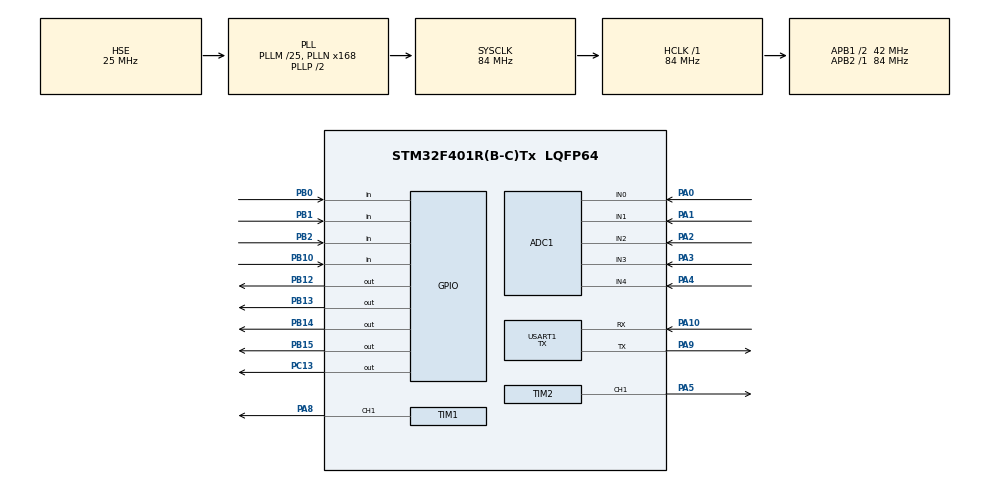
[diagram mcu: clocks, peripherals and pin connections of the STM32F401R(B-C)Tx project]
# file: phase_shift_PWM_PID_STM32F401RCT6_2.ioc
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ADC1.Channel-1\#ChannelRegularConversion=ADC_CHANNEL_0
ADC1.Channel-2\#ChannelRegularConversion=ADC_CHANNEL_1
ADC1.Channel-3\#ChannelRegularConversion=ADC_CHANNEL_2
ADC1.Channel-4\#ChannelRegularConversion=ADC_CHANNEL_3
ADC1.Channel-5\#ChannelRegularConversion=ADC_CHANNEL_4
ADC1.ContinuousConvMode=ENABLE
ADC1.DMAContinuousRequests=DISABLE
ADC1.InjNumberOfConversion=0
ADC1.NbrOfConversion=5
ADC1.NbrOfConversionFlag=1
ADC1.Rank-1\#ChannelRegularConversion=1
ADC1.Rank-2\#ChannelRegularConversion=2
ADC1.Rank-3\#ChannelRegularConversion=3
ADC1.Rank-4\#ChannelRegularConversion=4
ADC1.Rank-5\#ChannelRegularConversion=5
ADC1.SamplingTime-1\#ChannelRegularConversion=ADC_SAMPLETIME_84CYCLES
ADC1.SamplingTime-2\#ChannelRegularConversion=ADC_SAMPLETIME_112CYCLES
ADC1.SamplingTime-3\#ChannelRegularConversion=ADC_SAMPLETIME_144CYCLES
ADC1.SamplingTime-4\#ChannelRegularConversion=ADC_SAMPLETIME_28CYCLES
ADC1.SamplingTime-5\#ChannelRegularConversion=ADC_SAMPLETIME_15CYCLES
ADC1.ScanConvMode=ENABLE
ADC1.master=1
Dma.Request0=USART1_TX
Dma.Request1=TIM1_CH1
Dma.Request2=TIM2_CH1
Dma.TIM1_CH1.1.Direction=DMA_PERIPH_TO_MEMORY
Dma.TIM1_CH1.1.FIFOMode=DMA_FIFOMODE_DISABLE
Dma.TIM1_CH1.1.Instance=DMA2_Stream1
Dma.TIM1_CH1.1.MemDataAlignment=DMA_MDATAALIGN_HALFWORD
Dma.TIM1_CH1.1.MemInc=DMA_MINC_ENABLE
Dma.TIM1_CH1.1.Mode=DMA_NORMAL
Dma.TIM1_CH1.1.PeriphDataAlignment=DMA_PDATAALIGN_HALFWORD
Dma.TIM1_CH1.1.PeriphInc=DMA_PINC_DISABLE
Dma.TIM1_CH1.1.Priority=DMA_PRIORITY_LOW
Dma.TIM2_CH1.2.Direction=DMA_PERIPH_TO_MEMORY
Dma.TIM2_CH1.2.FIFOMode=DMA_FIFOMODE_DISABLE
Dma.TIM2_CH1.2.Instance=DMA1_Stream5
Dma.TIM2_CH1.2.MemDataAlignment=DMA_MDATAALIGN_HALFWORD
Dma.TIM2_CH1.2.MemInc=DMA_MINC_ENABLE
Dma.TIM2_CH1.2.Mode=DMA_NORMAL
Dma.TIM2_CH1.2.PeriphDataAlignment=DMA_PDATAALIGN_HALFWORD
Dma.TIM2_CH1.2.PeriphInc=DMA_PINC_DISABLE
Dma.TIM2_CH1.2.Priority=DMA_PRIORITY_LOW
Dma.USART1_TX.0.Direction=DMA_MEMORY_TO_PERIPH
Dma.USART1_TX.0.FIFOMode=DMA_FIFOMODE_DISABLE
Dma.USART1_TX.0.Instance=DMA2_Stream7
Dma.USART1_TX.0.MemDataAlignment=DMA_MDATAALIGN_WORD
Dma.USART1_TX.0.MemInc=DMA_MINC_ENABLE
Dma.USART1_TX.0.Mode=DMA_CIRCULAR
Dma.USART1_TX.0.PeriphDataAlignment=DMA_PDATAALIGN_WORD
Dma.USART1_TX.0.PeriphInc=DMA_PINC_DISABLE
Dma.USART1_TX.0.Priority=DMA_PRIORITY_LOW
Mcu.Family=STM32F4
Mcu.Name=STM32F401R(B-C)Tx
Mcu.Package=LQFP64
NVIC.DMA1_Stream5_IRQn=true\:0\:0\:false\:false\:true\:false\:true\:true
NVIC.DMA2_Stream1_IRQn=true\:0\:0\:false\:false\:true\:false\:true\:true
NVIC.DMA2_Stream7_IRQn=true\:0\:0\:false\:false\:true\:false\:true\:true
NVIC.PriorityGroup=NVIC_PRIORITYGROUP_4
NVIC.TIM1_CC_IRQn=true\:0\:0\:false\:false\:true\:true\:true\:true
NVIC.TIM2_IRQn=true\:0\:0\:false\:false\:true\:true\:true\:true
PA0-WKUP.Signal=ADCx_IN0
PA1.Signal=ADCx_IN1
PA10.Mode=Asynchronous
PA10.Signal=USART1_RX
PA13.Mode=Serial_Wire
PA13.Signal=SYS_JTMS-SWDIO
PA14.Mode=Serial_Wire
PA14.Signal=SYS_JTCK-SWCLK
PA2.Signal=ADCx_IN2
PA3.Signal=ADCx_IN3
PA4.Signal=ADCx_IN4
PA5.Signal=S_TIM2_CH1_ETR
PA8.Signal=S_TIM1_CH1
PA9.Mode=Asynchronous
PA9.Signal=USART1_TX
PB0.Signal=GPIO_Input
PB1.Signal=GPIO_Input
PB10.GPIO_PuPd=GPIO_PULLDOWN
PB10.Signal=GPIO_Input
PB12.Signal=GPIO_Output
PB13.Signal=GPIO_Output
PB14.Signal=GPIO_Output
PB15.Signal=GPIO_Output
PB2.Signal=GPIO_Input
PC13-ANTI_TAMP.Signal=GPIO_Output
PC14-OSC32_IN.Mode=LSE-External-Oscillator
PC14-OSC32_IN.Signal=RCC_OSC32_IN
PC15-OSC32_OUT.Mode=LSE-External-Oscillator
PC15-OSC32_OUT.Signal=RCC_OSC32_OUT
PH0\ -\ OSC_IN.Mode=HSE-External-Oscillator
PH0\ -\ OSC_IN.Signal=RCC_OSC_IN
PH1\ -\ OSC_OUT.Mode=HSE-External-Oscillator
PH1\ -\ OSC_OUT.Signal=RCC_OSC_OUT
ProjectManager.HeapSize=0x200
ProjectManager.StackSize=0x400
ProjectManager.TargetToolchain=STM32CubeIDE
RCC.48MHZClocksFreq_Value=42000000
RCC.AHBFreq_Value=84000000
RCC.APB1CLKDivider=RCC_HCLK_DIV2
RCC.APB1Freq_Value=42000000
RCC.APB1TimFreq_Value=84000000
RCC.APB2Freq_Value=84000000
RCC.APB2TimFreq_Value=84000000
RCC.CortexFreq_Value=84000000
RCC.HCLKFreq_Value=84000000
RCC.HSE_VALUE=25000000
RCC.HSI_VALUE=16000000
RCC.PLLM=25
RCC.PLLN=168
RCC.PLLSourceVirtual=RCC_PLLSOURCE_HSE
RCC.SYSCLKFreq_VALUE=84000000
RCC.SYSCLKSource=RCC_SYSCLKSOURCE_PLLCLK
RCC.VCOOutputFreq_Value=168000000
SH.ADCx_IN0.0=ADC1_IN0,IN0
SH.ADCx_IN1.0=ADC1_IN1,IN1
SH.ADCx_IN2.0=ADC1_IN2,IN2
SH.ADCx_IN3.0=ADC1_IN3,IN3
SH.ADCx_IN4.0=ADC1_IN4,IN4
SH.S_TIM1_CH1.0=TIM1_CH1,PWM Generation1 CH1
SH.S_TIM2_CH1_ETR.0=TIM2_CH1,PWM Generation1 CH1
TIM1.Channel-Output\ Compare2\ No\ Output=TIM_CHANNEL_2
TIM1.Channel-PWM\ Generation1\ CH1=TIM_CHANNEL_1
TIM1.OCMode_2=TIM_OCMODE_ACTIVE
TIM1.Period=690
TIM1.Prescaler=1
TIM1.Pulse-Output\ Compare2\ No\ Output=345
TIM1.Pulse-PWM\ Generation1\ CH1=0
TIM1.TIM_MasterOutputTrigger=TIM_TRGO_OC2REF
TIM2.Channel-PWM\ Generation1\ CH1=TIM_CHANNEL_1
TIM2.Period=690
TIM2.Prescaler=1
TIM2.Pulse-PWM\ Generation1\ CH1=0
USART1.Mode=MODE_TX
USART1.VirtualMode=VM_ASYNC
VP_TIM1_VS_no_output2.Mode=Output Compare2 No Output
VP_TIM2_VS_ClockSourceITR.Mode=TriggerSource_ITR0
VP_TIM2_VS_ControllerModeTrigger.Mode=Trigger Mode
board=custom

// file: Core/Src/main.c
/* USER CODE BEGIN Header */
/**
 ******************************************************************************
 * @file           : main.c
 * @brief          : Main program body
 ******************************************************************************
 * @attention
 *
 * Copyright (c) 2024 STMicroelectronics.
 * All rights reserved.
 *
 * This software is licensed under terms that can be found in the LICENSE file
 * in the root directory of this software component.
 * If no LICENSE file comes with this software, it is provided AS-IS.
 *
 ******************************************************************************
 */
/* USER CODE END Header */
#include "main.h"

/* USER CODE BEGIN Includes */
#include <stdio.h>
#include "string.h"
#include "stm32f4xx_hal.h"

/* USER CODE END Includes */

ADC_HandleTypeDef hadc1;

TIM_HandleTypeDef htim1;
TIM_HandleTypeDef htim2;
DMA_HandleTypeDef hdma_tim1_ch1;
DMA_HandleTypeDef hdma_tim2_ch1;

UART_HandleTypeDef huart1;
DMA_HandleTypeDef hdma_usart1_tx;

void SystemClock_Config(void);
static void MX_GPIO_Init(void);
static void MX_DMA_Init(void);
static void MX_ADC1_Init(void);
static void MX_TIM1_Init(void);
static void MX_TIM2_Init(void);
static void MX_USART1_UART_Init(void);

/* USER CODE BEGIN 0 */
// Define PID Input
#define   kp 0.95f   // P Gain Input--good kp = 0.66f--New P = 0.60f
#define   ki 16.66f  // I Gain Input--good ki = 16.66f--New I = 10.725f
#define   kd 0.00f   // D Gain Input

// setPoint
float setpoint = 400.0f;

// Define PID limits
//maximum duty circle 690/2 = 345-Dead Time
//Haft Duty circle = 365.0f - (360ns) = 345
#define   PID_MIN_OUTPUT 0.0f
#define   PID_MAX_OUTPUT 330.0f //MAX 330 is good
// Define Kalman filter parameters
//for voltage feedback
#define   Q 0.01f // Process noise covariance
#define   R 0.5f  // Measurement noise covariance
//for current sensor
#define   Q1 0.01f // Process noise covariance
#define   R1 0.5f  // Measurement noise covariance
//for voltage sensor input
#define   Q2 0.01f // Process noise covariance
#define   R2 0.5f  // Measurement noise covariance

// Define anti-windup parameters
#define   INTEGRAL_MIN 0.0f
#define   INTEGRAL_MAX 800.0f

// Define Derivative clamp parameters
#define   tau 0.02

// ADC parameters
#define   ADC_MAX_VALUE 4095.0f // 12-bit ADC
#define   ADC_MIN_VALUE 0.0f

// Map function parameters
#define   INPUT_MIN 0.0f
#define   INPUT_MAX 5.0f  //500V = 5V

// PID Parameter
float error = 0.0f, last_error = 0.0f, proportional = 0.0f, integral = 0.0f,
		derivate = 0.0f;
float PID_out = 0.0f;
float out = 0.0f;
float PWM = 0.0f;
double input = 0.0f;
float last_feedback = 0.0f;
float UVout = 0.0f;
float Vin = 0.0f;
float Iout = 0.0f;
int UVref = 50.0f;
int Iref = 20.0f;   //Max 50A
int first_start_pwm = 40.0f; //first_start_pwm D12.5% = 83.25 ,D25% = 166.5, D45% = 333
float i = 0.0f;
int Iset = 30.0f;
float Pin = 0.0f;

char data[100];

#define   SAMPLE_TIME      10 	// 10 milliseconds
#define   SAMPLE_TIME1     10 	// 10 milliseconds
float dt = 0.0f; 		// Time interval between control loop iterations
float dt1 = 0.0f;
uint32_t last_time = 0.0f;
uint32_t current_time;
uint32_t now;
uint32_t last;

float previousMillis = 0.0f;
float interval = 100.0f;

/*-----------------------------map value------------------------------------*/
float map(float x, float in_min, float in_max, float out_min, float out_max) {
	return (x - in_min) * (out_max - out_min) / (in_max - in_min) + out_min;
}
float map1(float x1, float in_min1, float in_max1, float out_min1, float out_max1) {
	return (x1 - in_min1) * (out_max1 - out_min1) / (in_max1 - in_min1) + out_min1;
}
float map2(float x2, float in_min2, float in_max2, float out_min2, float out_max2) {
	return (x2 - in_min2) * (out_max2 - out_min2) / (in_max2 - in_min2) + out_min2;
}
float map3(float x3, float in_min3, float in_max3, float out_min3, float out_max3) {
	return (x3 - in_min3) * (out_max3 - out_min3) / (in_max3 - in_min3) + out_min3;
}
/*--------------------------------------------------------------------------*/

/*------------------------------kalman_filter-------------------------------*/
float kalman_filter1(float measurement1, float dt1) {
	static float x_Est1 = 0.0f; // State estimate
	static float P1 = 1.0f;     // Estimate covariance
	static float H1 = 1.0f;  // Measurement matrix
	static float F1 = 1.0f;  // State transition matrix

	// Prediction
	float x_est_minus1 = F1 * x_Est1;
	float P_minus1 = P1 + Q1 * dt1;

	// Update
	float K1 = (P_minus1 * H1)/(H1 * P_minus1 + R1);
	x_Est1 = x_est_minus1 + K1 * (measurement1 - x_est_minus1);
	P1 = (1 - K1 * H1) * P_minus1;
	return x_Est1;
}

float kalman_filter2(float measurement2, float dt1) {
	static float x_Est2 = 0.0f; // State estimate
	static float P2 = 1.0f;     // Estimate covariance
	static float H2 = 1.0f;  // Measurement matrix
	static float F2 = 1.0f;  // State transition matrix

	// Prediction
	float x_est_minus2 = F2 * x_Est2;
	float P_minus2     = F2 * P2 + Q2 * dt1;

	// Update
	float K2 = (P_minus2 * H2)/(H2 * P_minus2 + R2);
	x_Est2 = x_est_minus2 + K2 * (measurement2 - H2 * x_est_minus2);
	P2 = (1 - K2 * H2) * P_minus2;
	return x_Est2;
}

// Function to update the Kalman filter
float Kalman_Update(float z, float delta) {
	// Kalman filter variables
	static float x = 0.0f;  // State estimate
	static float P = 1.0f;  // Estimate covariance
	static float H = 1.0f;  // Measurement matrix
	static float F = 1.0f;  // State transition matrix

	// Prediction step
	float x_pred = F * x;
	float P_pred = F * P + Q * delta;

	// Update step
	float K = P_pred * H / (H * P_pred + R);  // Kalman gain
	x = x_pred + K * (z - H * x_pred);
	P = (1 - K * H) * P_pred;
	return x;
}

/*------------------------PID COMPUTE---------------------------------------*/
void PID_comput(float setPoint, float feedback) {
	setPoint = map(setPoint, 0.0f, 500.0f, 0.0f, 330);
	feedback = map(feedback, 0.0f, 500.0f, 0.0f, 330);
	error = setPoint - feedback;

	proportional = kp * error; //Proportional--------------------------------------------------

	/* Integral term with ANTI WIND-UP */

	integral += ( ki * dt * error); // integral += ((ki * error) * dt);-----------
	if (integral > INTEGRAL_MAX) {
		integral = INTEGRAL_MAX / ki; //integral = INTEGRAL_MAX/ki;
	} else if (integral < INTEGRAL_MIN) {
		integral = INTEGRAL_MIN / ki; // integral = INTEGRAL_MIN/ki;
	}

	//-------------------------------------

	/* Derivative (band-limited differentiator)*/

	//derivate = kd * ((error - last_error)/dt);
	derivate = -(2.0f * kd * (feedback - last_feedback)/* Note: derivative on measurement, therefore minus sign in front of equation! */
	+ (2.0f * tau - dt) * derivate) / (2.0f * tau + dt);
	//-------------------------------------

	PID_out = proportional + integral + derivate; //PID OUTPUT

	/*Output Limit-------------------------*/
	if (PID_out > PID_MAX_OUTPUT) {
		integral -= (ki * error * dt); // integral =  integral + (ki * error);
		PID_out = PID_MAX_OUTPUT;
	} else if (PID_out < PID_MIN_OUTPUT) {
		//integral += (ki * error * dt);
		PID_out = PID_MIN_OUTPUT;
	}
	last_error = error;
	last_feedback = feedback;
	//------------------------------
	//return PID_out;
}
//------------------------UART Serial Print Data-----------------------------------------------------------------------------------------------------------------------------------------
void print_data(float IN1, float IN2, float IN3, float IN4, float IN5,
		float IN6, float IN7) {
	// Blink the status LED
	unsigned long currentMillis = HAL_GetTick();
	if (currentMillis - previousMillis >= interval) {
		previousMillis = currentMillis;
		sprintf(data,
				"I:%.2fA  Vf:%.2fV  PWM:%.2f  Pin:%.2fW  ut:%.2f  Targ:%.fV  Vin:%.2fV \r\n",
				IN1, IN2, IN3, IN4, IN5, IN6, IN7);
		HAL_UART_Transmit(&huart1, (uint8_t*) data, strlen(data),
				HAL_MAX_DELAY);
	}
}
//---------------------------------------------------------------------------------------------------------------------------------------------------------------------------------
void ADC_Select_CH0(void) {
	ADC_ChannelConfTypeDef sConfig = { 0 };
	/** Configure for the selected ADC regular channel its corresponding rank in the sequencer and its sample time.
	 */
	sConfig.Channel = ADC_CHANNEL_0;
	sConfig.Rank = 1;
	sConfig.SamplingTime = ADC_SAMPLETIME_84CYCLES;
	if (HAL_ADC_ConfigChannel(&hadc1, &sConfig) != HAL_OK) {
		Error_Handler();
	}
}

void ADC_Select_CH1(void) {
	ADC_ChannelConfTypeDef sConfig = { 0 };
	/** Configure for the selected ADC regular channel its corresponding rank in the sequencer and its sample time.
	 */
	sConfig.Channel = ADC_CHANNEL_1;
	sConfig.Rank = 1;
	sConfig.SamplingTime = ADC_SAMPLETIME_112CYCLES;
	if (HAL_ADC_ConfigChannel(&hadc1, &sConfig) != HAL_OK) {
		Error_Handler();
	}
}

void ADC_Select_CH2(void) {
	ADC_ChannelConfTypeDef sConfig = { 0 };
	/** Configure for the selected ADC regular channel its corresponding rank in the sequencer and its sample time.
	 */
	sConfig.Channel = ADC_CHANNEL_2;
	sConfig.Rank = 1;
	sConfig.SamplingTime = ADC_SAMPLETIME_144CYCLES;
	if (HAL_ADC_ConfigChannel(&hadc1, &sConfig) != HAL_OK) {
		Error_Handler();
	}
}

void ADC_Select_CH3(void) {
	ADC_ChannelConfTypeDef sConfig = { 0 };
	/** Configure for the selected ADC regular channel its corresponding rank in the sequencer and its sample time.
	 */
	sConfig.Channel = ADC_CHANNEL_3;
	sConfig.Rank = 1;
	sConfig.SamplingTime = ADC_SAMPLETIME_28CYCLES;
	if (HAL_ADC_ConfigChannel(&hadc1, &sConfig) != HAL_OK) {
		Error_Handler();
	}
}

void ADC_Select_CH4(void) {
	ADC_ChannelConfTypeDef sConfig = { 0 };
	/** Configure for the selected ADC regular channel its corresponding rank in the sequencer and its sample time.
	 */
	sConfig.Channel = ADC_CHANNEL_4;
	sConfig.Rank = 1;
	sConfig.SamplingTime = ADC_SAMPLETIME_15CYCLES;
	if (HAL_ADC_ConfigChannel(&hadc1, &sConfig) != HAL_OK) {
		Error_Handler();
	}
}

/* USER CODE END 0 */

int main(void)
{

  /* MCU Configuration--------------------------------------------------------*/

  /* Reset of all peripherals, Initializes the Flash interface and the Systick. */
  HAL_Init();

  /* Configure the system clock */
  SystemClock_Config();

  /* Initialize all configured peripherals */
  MX_GPIO_Init();
  MX_DMA_Init();
  MX_ADC1_Init();
  MX_TIM1_Init();
  MX_TIM2_Init();
  MX_USART1_UART_Init();
  /* USER CODE BEGIN 2 */

	HAL_TIM_PWM_Start(&htim1, TIM_CHANNEL_1);	//Pin PA8
	HAL_TIM_OC_Start(&htim1, TIM_CHANNEL_2);
	HAL_TIM_PWM_Start(&htim2, TIM_CHANNEL_1);	//Pin PA5

  /* USER CODE END 2 */

  /* Infinite loop */
  /* USER CODE BEGIN WHILE */
	uint32_t adc_value[5];

	while (1) {

		ADC_Select_CH0();            //ADC1 CHANNEL0(PA0)
		HAL_ADC_Start(&hadc1);
		HAL_ADC_PollForConversion(&hadc1, 100);
		adc_value[0] = HAL_ADC_GetValue(&hadc1);
		HAL_ADC_Stop(&hadc1);

		ADC_Select_CH1();            //ADC1 CHANNEL1(PA1)
		HAL_ADC_Start(&hadc1);
		HAL_ADC_PollForConversion(&hadc1, 100);
		adc_value[1] = HAL_ADC_GetValue(&hadc1);
		HAL_ADC_Stop(&hadc1);

		ADC_Select_CH2();            //ADC1 CHANNEL0(PA2)
		HAL_ADC_Start(&hadc1);
		HAL_ADC_PollForConversion(&hadc1, 100);
		adc_value[2] = HAL_ADC_GetValue(&hadc1);
		HAL_ADC_Stop(&hadc1);

		ADC_Select_CH3();            //ADC1 CHANNEL0(PA3)
		HAL_ADC_Start(&hadc1);
		HAL_ADC_PollForConversion(&hadc1, 100);
		adc_value[3] = HAL_ADC_GetValue(&hadc1);
		HAL_ADC_Stop(&hadc1);

		ADC_Select_CH4();            //ADC1 CHANNEL0(PA4)
		HAL_ADC_Start(&hadc1);
		HAL_ADC_PollForConversion(&hadc1, 100);
		adc_value[4] = HAL_ADC_GetValue(&hadc1);
		HAL_ADC_Stop(&hadc1);

//------------------------------------------------------------
		//voltage feedback map value of ADC1(PA0)
		input = map(adc_value[0], ADC_MIN_VALUE, ADC_MAX_VALUE, INPUT_MIN,
				INPUT_MAX);
		float Vfeedback = ((input - 0.29f) * 125.0f) / 1.079f;	      //117
		if (Vfeedback > 600.0f) {
			Vfeedback = 600.0;
		} else if (Vfeedback < 0.0f) {
			Vfeedback = 0.0f;
		}
//-----------------------------------------------------------------------------------
		//current feedback map value of ADC1(PA1)
		Iout = map1(adc_value[1], 0.0f, 4095.0f, 0.0f, 5.0f);
		Iout = (Iout - (2.427f)) / 0.040f;	 //convert voltage to current 40mV/A
		if (Iout >= 60.0f) {
			Iout = 60.0f;
		} else if (Iout < 0.0f) {
			Iout = 0.0f;
		}

//-----------------------------------------------------------------------------------
		//V_input feedback map value of ADC1(PA2)
		Vin = map2(adc_value[2], 0.0f, 4095.0f, 0.0f, 103.4f);

//-----------------------------------------------------------------------------------
		// Run filter
		float filtered1 = Kalman_Update(Vfeedback, dt1);
	    float filtered2 = kalman_filter1(Iout,dt1);
	    float filtered3 = kalman_filter2(Vin,dt1);

		now = HAL_GetTick();
		dt1 = (now - last) / 1000.0f; // Convert ms to seconds
		if (dt1 >= (SAMPLE_TIME1 / 1000.0f)) {

			last = now; // Update last
		}
		current_time = HAL_GetTick();
		dt = (current_time - last_time) / 1000.0f; // Convert ms to seconds
		if (dt >= (SAMPLE_TIME / 1000.0f)) {
			//-------------------------------------------------------------------------

			PID_comput(setpoint, filtered1); //PID_comput(setPoint, Input);
			//PI_comput(Iset, filtered2); //P_comput(setPoint, Input) For current
			last_time = current_time; // Update last_time
		}

		Pin = filtered2 * filtered3;//calculate output power

		PWM = PID_out; // Otherwise, use voltage control

//----------------Timer PWM Generator--------------------------
		TIM1->CCR1 = PWM;
		TIM2->CCR1 = PWM;
//-------------------------------------------------------------
		if (i < 1) {
			HAL_GPIO_WritePin(GPIOC, GPIO_PIN_13, GPIO_PIN_SET);
			HAL_Delay(300);
			HAL_GPIO_WritePin(GPIOC, GPIO_PIN_13, GPIO_PIN_RESET);
		}
//--------------------------PWM SHUT DOWN----------------------
		if ((Vin >= 60) || (Vin <= 40)) {//When batteries are Higher or Lower than reference, System will be shut down
			HAL_TIM_PWM_Stop(&htim1, TIM_CHANNEL_1);
			HAL_TIM_PWM_Stop(&htim2, TIM_CHANNEL_1);
			HAL_GPIO_WritePin(GPIOB, GPIO_PIN_13, GPIO_PIN_SET);
			while (1) {
				HAL_GPIO_WritePin(GPIOC, GPIO_PIN_13, GPIO_PIN_SET);
				HAL_Delay(1000);
				HAL_GPIO_WritePin(GPIOC, GPIO_PIN_13, GPIO_PIN_RESET);
				HAL_Delay(1000);

				if ((Vin < 60) || (Vin > 46)) {//When batteries are normal, System will be reset
					NVIC_SystemReset();//Automatic system reset
					break;
				}
			}
		}
//-------------------------------------------------------------

		if (filtered2 >= Iref) {// Overload Current
			HAL_TIM_PWM_Stop(&htim1, TIM_CHANNEL_1);
			HAL_TIM_PWM_Stop(&htim2, TIM_CHANNEL_1);
			HAL_GPIO_WritePin(GPIOB, GPIO_PIN_13, GPIO_PIN_SET);
			while (1) {

				HAL_GPIO_WritePin(GPIOC, GPIO_PIN_13, GPIO_PIN_SET);
				HAL_Delay(300);
				HAL_GPIO_WritePin(GPIOC, GPIO_PIN_13, GPIO_PIN_RESET);
				HAL_Delay(300);

			}

		}
		//-----------------------------------------------------------
		print_data(filtered2, filtered1, PWM, Pin, PID_out, setpoint, filtered3);

//soft start-----------------------------------------------------------------------------------------------------------
		while (i <= first_start_pwm) {
			i += 0.0002f;

			filtered1 = Kalman_Update(Vfeedback, dt1);
			filtered2 = kalman_filter1(Iout, dt1);
			filtered3 = kalman_filter2(Vin, dt1);
			PID_comput(setpoint, filtered1); //PID_comput(setPoint, Input);
//					 PI_comput(Iset, filtered2); //P_comput(setPoint, Input) For current
			TIM1->CCR1 = i;
			TIM2->CCR1 = i;
			print_data(filtered2, filtered1, i, Pin, PID_out, setpoint, filtered3);
			if (i == first_start_pwm) {
				break;
			}
		}
//--------------------------------------------------------------------------------------------------------------------

    /* USER CODE END WHILE */

	}
}

void SystemClock_Config(void)
{
  RCC_OscInitTypeDef RCC_OscInitStruct = {0};
  RCC_ClkInitTypeDef RCC_ClkInitStruct = {0};

  /** Configure the main internal regulator output voltage
  */
  __HAL_RCC_PWR_CLK_ENABLE();
  __HAL_PWR_VOLTAGESCALING_CONFIG(PWR_REGULATOR_VOLTAGE_SCALE2);

  /** Initializes the RCC Oscillators according to the specified parameters
  * in the RCC_OscInitTypeDef structure.
  */
  RCC_OscInitStruct.OscillatorType = RCC_OSCILLATORTYPE_HSE;
  RCC_OscInitStruct.HSEState = RCC_HSE_ON;
  RCC_OscInitStruct.PLL.PLLState = RCC_PLL_ON;
  RCC_OscInitStruct.PLL.PLLSource = RCC_PLLSOURCE_HSE;
  RCC_OscInitStruct.PLL.PLLM = 25;
  RCC_OscInitStruct.PLL.PLLN = 168;
  RCC_OscInitStruct.PLL.PLLP = RCC_PLLP_DIV2;
  RCC_OscInitStruct.PLL.PLLQ = 4;
  if (HAL_RCC_OscConfig(&RCC_OscInitStruct) != HAL_OK)
  {
    Error_Handler();
  }

  /** Initializes the CPU, AHB and APB buses clocks
  */
  RCC_ClkInitStruct.ClockType = RCC_CLOCKTYPE_HCLK|RCC_CLOCKTYPE_SYSCLK
                              |RCC_CLOCKTYPE_PCLK1|RCC_CLOCKTYPE_PCLK2;
  RCC_ClkInitStruct.SYSCLKSource = RCC_SYSCLKSOURCE_PLLCLK;
  RCC_ClkInitStruct.AHBCLKDivider = RCC_SYSCLK_DIV1;
  RCC_ClkInitStruct.APB1CLKDivider = RCC_HCLK_DIV2;
  RCC_ClkInitStruct.APB2CLKDivider = RCC_HCLK_DIV1;

  if (HAL_RCC_ClockConfig(&RCC_ClkInitStruct, FLASH_LATENCY_2) != HAL_OK)
  {
    Error_Handler();
  }
}

static void MX_ADC1_Init(void)
{

  ADC_ChannelConfTypeDef sConfig = {0};

  /** Configure the global features of the ADC (Clock, Resolution, Data Alignment and number of conversion)
  */
  hadc1.Instance = ADC1;
  hadc1.Init.ClockPrescaler = ADC_CLOCK_SYNC_PCLK_DIV4;
  hadc1.Init.Resolution = ADC_RESOLUTION_12B;
  hadc1.Init.ScanConvMode = ENABLE;
  hadc1.Init.ContinuousConvMode = ENABLE;
  hadc1.Init.DiscontinuousConvMode = DISABLE;
  hadc1.Init.ExternalTrigConvEdge = ADC_EXTERNALTRIGCONVEDGE_NONE;
  hadc1.Init.ExternalTrigConv = ADC_SOFTWARE_START;
  hadc1.Init.DataAlign = ADC_DATAALIGN_RIGHT;
  hadc1.Init.NbrOfConversion = 5;
  hadc1.Init.DMAContinuousRequests = DISABLE;
  hadc1.Init.EOCSelection = ADC_EOC_SINGLE_CONV;
  if (HAL_ADC_Init(&hadc1) != HAL_OK)
  {
    Error_Handler();
  }

  /** Configure for the selected ADC regular channel its corresponding rank in the sequencer and its sample time.
  */
  sConfig.Channel = ADC_CHANNEL_0;
  sConfig.Rank = 1;
  sConfig.SamplingTime = ADC_SAMPLETIME_84CYCLES;
  if (HAL_ADC_ConfigChannel(&hadc1, &sConfig) != HAL_OK)
  {
    Error_Handler();
  }

  /** Configure for the selected ADC regular channel its corresponding rank in the sequencer and its sample time.
  */
  sConfig.Channel = ADC_CHANNEL_1;
  sConfig.Rank = 2;
  sConfig.SamplingTime = ADC_SAMPLETIME_112CYCLES;
  if (HAL_ADC_ConfigChannel(&hadc1, &sConfig) != HAL_OK)
  {
    Error_Handler();
  }

  /** Configure for the selected ADC regular channel its corresponding rank in the sequencer and its sample time.
  */
  sConfig.Channel = ADC_CHANNEL_2;
  sConfig.Rank = 3;
  sConfig.SamplingTime = ADC_SAMPLETIME_144CYCLES;
  if (HAL_ADC_ConfigChannel(&hadc1, &sConfig) != HAL_OK)
  {
    Error_Handler();
  }

  /** Configure for the selected ADC regular channel its corresponding rank in the sequencer and its sample time.
  */
  sConfig.Channel = ADC_CHANNEL_3;
  sConfig.Rank = 4;
  sConfig.SamplingTime = ADC_SAMPLETIME_28CYCLES;
  if (HAL_ADC_ConfigChannel(&hadc1, &sConfig) != HAL_OK)
  {
    Error_Handler();
  }

  /** Configure for the selected ADC regular channel its corresponding rank in the sequencer and its sample time.
  */
  sConfig.Channel = ADC_CHANNEL_4;
  sConfig.Rank = 5;
  sConfig.SamplingTime = ADC_SAMPLETIME_15CYCLES;
  if (HAL_ADC_ConfigChannel(&hadc1, &sConfig) != HAL_OK)
  {
    Error_Handler();
  }

}

static void MX_TIM1_Init(void)
{

  TIM_MasterConfigTypeDef sMasterConfig = {0};
  TIM_OC_InitTypeDef sConfigOC = {0};
  TIM_BreakDeadTimeConfigTypeDef sBreakDeadTimeConfig = {0};

  htim1.Instance = TIM1;
  htim1.Init.Prescaler = 1;
  htim1.Init.CounterMode = TIM_COUNTERMODE_UP;
  htim1.Init.Period = 690;
  htim1.Init.ClockDivision = TIM_CLOCKDIVISION_DIV1;
  htim1.Init.RepetitionCounter = 0;
  htim1.Init.AutoReloadPreload = TIM_AUTORELOAD_PRELOAD_DISABLE;
  if (HAL_TIM_PWM_Init(&htim1) != HAL_OK)
  {
    Error_Handler();
  }
  if (HAL_TIM_OC_Init(&htim1) != HAL_OK)
  {
    Error_Handler();
  }
  sMasterConfig.MasterOutputTrigger = TIM_TRGO_OC2REF;
  sMasterConfig.MasterSlaveMode = TIM_MASTERSLAVEMODE_DISABLE;
  if (HAL_TIMEx_MasterConfigSynchronization(&htim1, &sMasterConfig) != HAL_OK)
  {
    Error_Handler();
  }
  sConfigOC.OCMode = TIM_OCMODE_PWM1;
  sConfigOC.Pulse = 0;
  sConfigOC.OCPolarity = TIM_OCPOLARITY_HIGH;
  sConfigOC.OCNPolarity = TIM_OCNPOLARITY_HIGH;
  sConfigOC.OCFastMode = TIM_OCFAST_DISABLE;
  sConfigOC.OCIdleState = TIM_OCIDLESTATE_RESET;
  sConfigOC.OCNIdleState = TIM_OCNIDLESTATE_RESET;
  if (HAL_TIM_PWM_ConfigChannel(&htim1, &sConfigOC, TIM_CHANNEL_1) != HAL_OK)
  {
    Error_Handler();
  }
  sConfigOC.OCMode = TIM_OCMODE_ACTIVE;
  sConfigOC.Pulse = 345;
  if (HAL_TIM_OC_ConfigChannel(&htim1, &sConfigOC, TIM_CHANNEL_2) != HAL_OK)
  {
    Error_Handler();
  }
  sBreakDeadTimeConfig.OffStateRunMode = TIM_OSSR_DISABLE;
  sBreakDeadTimeConfig.OffStateIDLEMode = TIM_OSSI_DISABLE;
  sBreakDeadTimeConfig.LockLevel = TIM_LOCKLEVEL_OFF;
  sBreakDeadTimeConfig.DeadTime = 0;
  sBreakDeadTimeConfig.BreakState = TIM_BREAK_DISABLE;
  sBreakDeadTimeConfig.BreakPolarity = TIM_BREAKPOLARITY_HIGH;
  sBreakDeadTimeConfig.AutomaticOutput = TIM_AUTOMATICOUTPUT_DISABLE;
  if (HAL_TIMEx_ConfigBreakDeadTime(&htim1, &sBreakDeadTimeConfig) != HAL_OK)
  {
    Error_Handler();
  }
  HAL_TIM_MspPostInit(&htim1);

}

static void MX_TIM2_Init(void)
{

  TIM_SlaveConfigTypeDef sSlaveConfig = {0};
  TIM_MasterConfigTypeDef sMasterConfig = {0};
  TIM_OC_InitTypeDef sConfigOC = {0};

  htim2.Instance = TIM2;
  htim2.Init.Prescaler = 1;
  htim2.Init.CounterMode = TIM_COUNTERMODE_UP;
  htim2.Init.Period = 690;
  htim2.Init.ClockDivision = TIM_CLOCKDIVISION_DIV1;
  htim2.Init.AutoReloadPreload = TIM_AUTORELOAD_PRELOAD_DISABLE;
  if (HAL_TIM_Base_Init(&htim2) != HAL_OK)
  {
    Error_Handler();
  }
  if (HAL_TIM_PWM_Init(&htim2) != HAL_OK)
  {
    Error_Handler();
  }
  sSlaveConfig.SlaveMode = TIM_SLAVEMODE_TRIGGER;
  sSlaveConfig.InputTrigger = TIM_TS_ITR0;
  if (HAL_TIM_SlaveConfigSynchro(&htim2, &sSlaveConfig) != HAL_OK)
  {
    Error_Handler();
  }
  sMasterConfig.MasterOutputTrigger = TIM_TRGO_RESET;
  sMasterConfig.MasterSlaveMode = TIM_MASTERSLAVEMODE_DISABLE;
  if (HAL_TIMEx_MasterConfigSynchronization(&htim2, &sMasterConfig) != HAL_OK)
  {
    Error_Handler();
  }
  sConfigOC.OCMode = TIM_OCMODE_PWM1;
  sConfigOC.Pulse = 0;
  sConfigOC.OCPolarity = TIM_OCPOLARITY_HIGH;
  sConfigOC.OCFastMode = TIM_OCFAST_DISABLE;
  if (HAL_TIM_PWM_ConfigChannel(&htim2, &sConfigOC, TIM_CHANNEL_1) != HAL_OK)
  {
    Error_Handler();
  }
  HAL_TIM_MspPostInit(&htim2);

}

static void MX_USART1_UART_Init(void)
{

  huart1.Instance = USART1;
  huart1.Init.BaudRate = 115200;
  huart1.Init.WordLength = UART_WORDLENGTH_8B;
  huart1.Init.StopBits = UART_STOPBITS_1;
  huart1.Init.Parity = UART_PARITY_NONE;
  huart1.Init.Mode = UART_MODE_TX;
  huart1.Init.HwFlowCtl = UART_HWCONTROL_NONE;
  huart1.Init.OverSampling = UART_OVERSAMPLING_16;
  if (HAL_UART_Init(&huart1) != HAL_OK)
  {
    Error_Handler();
  }

}

static void MX_DMA_Init(void)
{

  /* DMA controller clock enable */
  __HAL_RCC_DMA2_CLK_ENABLE();
  __HAL_RCC_DMA1_CLK_ENABLE();

  /* DMA interrupt init */
  /* DMA1_Stream5_IRQn interrupt configuration */
  HAL_NVIC_SetPriority(DMA1_Stream5_IRQn, 0, 0);
  HAL_NVIC_EnableIRQ(DMA1_Stream5_IRQn);
  /* DMA2_Stream1_IRQn interrupt configuration */
  HAL_NVIC_SetPriority(DMA2_Stream1_IRQn, 0, 0);
  HAL_NVIC_EnableIRQ(DMA2_Stream1_IRQn);
  /* DMA2_Stream7_IRQn interrupt configuration */
  HAL_NVIC_SetPriority(DMA2_Stream7_IRQn, 0, 0);
  HAL_NVIC_EnableIRQ(DMA2_Stream7_IRQn);

}

static void MX_GPIO_Init(void)
{
  GPIO_InitTypeDef GPIO_InitStruct = {0};

  /* GPIO Ports Clock Enable */
  __HAL_RCC_GPIOC_CLK_ENABLE();
  __HAL_RCC_GPIOH_CLK_ENABLE();
  __HAL_RCC_GPIOA_CLK_ENABLE();
  __HAL_RCC_GPIOB_CLK_ENABLE();

  /*Configure GPIO pin Output Level */
  HAL_GPIO_WritePin(GPIOC, GPIO_PIN_13, GPIO_PIN_RESET);

  /*Configure GPIO pin Output Level */
  HAL_GPIO_WritePin(GPIOB, GPIO_PIN_12|GPIO_PIN_13|GPIO_PIN_14|GPIO_PIN_15, GPIO_PIN_RESET);

  /*Configure GPIO pin : PC13 */
  GPIO_InitStruct.Pin = GPIO_PIN_13;
  GPIO_InitStruct.Mode = GPIO_MODE_OUTPUT_PP;
  GPIO_InitStruct.Pull = GPIO_NOPULL;
  GPIO_InitStruct.Speed = GPIO_SPEED_FREQ_LOW;
  HAL_GPIO_Init(GPIOC, &GPIO_InitStruct);

  /*Configure GPIO pins : PB0 PB1 PB2 */
  GPIO_InitStruct.Pin = GPIO_PIN_0|GPIO_PIN_1|GPIO_PIN_2;
  GPIO_InitStruct.Mode = GPIO_MODE_INPUT;
  GPIO_InitStruct.Pull = GPIO_NOPULL;
  HAL_GPIO_Init(GPIOB, &GPIO_InitStruct);

  /*Configure GPIO pin : PB10 */
  GPIO_InitStruct.Pin = GPIO_PIN_10;
  GPIO_InitStruct.Mode = GPIO_MODE_INPUT;
  GPIO_InitStruct.Pull = GPIO_PULLDOWN;
  HAL_GPIO_Init(GPIOB, &GPIO_InitStruct);

  /*Configure GPIO pins : PB12 PB13 PB14 PB15 */
  GPIO_InitStruct.Pin = GPIO_PIN_12|GPIO_PIN_13|GPIO_PIN_14|GPIO_PIN_15;
  GPIO_InitStruct.Mode = GPIO_MODE_OUTPUT_PP;
  GPIO_InitStruct.Pull = GPIO_NOPULL;
  GPIO_InitStruct.Speed = GPIO_SPEED_FREQ_LOW;
  HAL_GPIO_Init(GPIOB, &GPIO_InitStruct);

}

void Error_Handler(void)
{
	__disable_irq();
	while (1) {
	}
}
